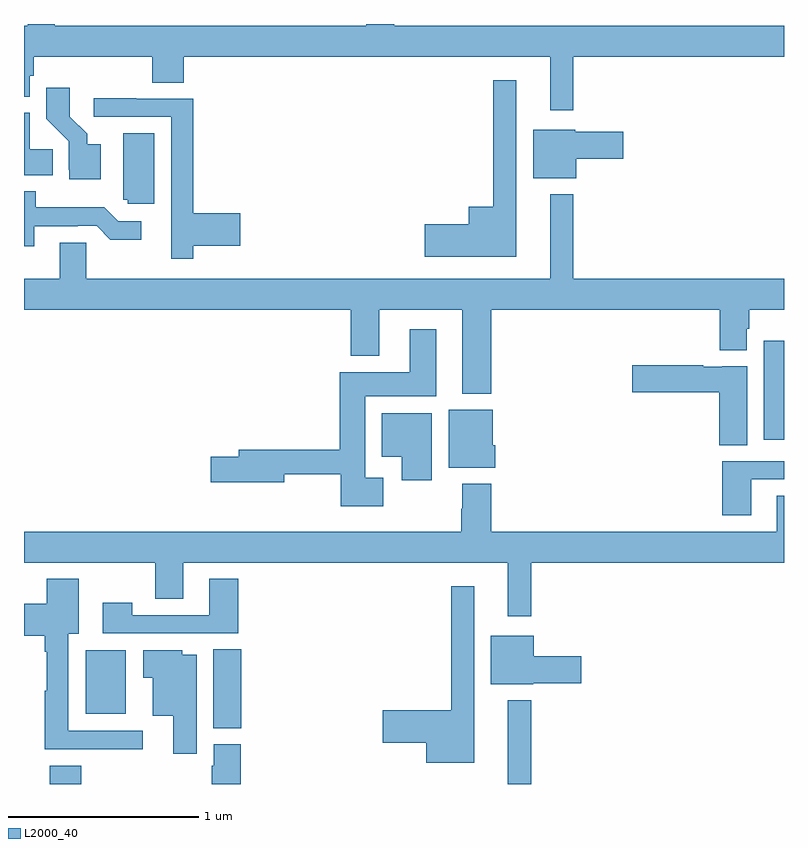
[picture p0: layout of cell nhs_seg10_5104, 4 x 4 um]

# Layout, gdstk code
import gdstk
lib = gdstk.Library(unit=1e-6, precision=1e-09)
def R(c, l, rs):  # rectangles x0, y0, x1, y1
    for r in rs: c.add(gdstk.rectangle(r[:2], r[2:], *l))
def P(c, l, *ps):  # polygons
    for p in ps: c.add(gdstk.Polygon(p, *l))
L2000_40 = (2000, 40)

nhs_seg10_5104 = lib.new_cell('nhs_seg10_5104')
R(nhs_seg10_5104, L2000_40, [(407.135,1284.5,407.3,1284.595), (409.547,1284.5,409.669,1284.94), (407.996,1284.793,408.143,1285.208), (407.324,1284.869,407.536,1285.204), (410.894,1286.312,411,1286.833)])
P(nhs_seg10_5104, L2000_40, [(407.021,1288.492),(407,1288.492),(407,1288.118),(407.031,1288.118),(407.031,1288.227),(407.051,1288.227),(407.051,1288.328),(407.675,1288.328),(407.675,1288.192),(407.84,1288.192),(407.84,1288.328),(409.769,1288.328),(409.769,1288.047),(409.891,1288.047),(409.891,1288.328),(411,1288.328),(411,1288.492),(408.949,1288.492),(408.949,1288.5),(408.802,1288.5),(408.802,1288.492),(407.161,1288.492),(407.161,1288.5),(407.021,1288.5)],
  [(409.591,1288.204),(409.47,1288.204),(409.47,1287.538),(409.34,1287.538),(409.34,1287.446),(409.11,1287.446),(409.11,1287.275),(409.591,1287.275)],
  [(407.404,1287.868),(407.332,1287.868),(407.332,1287.923),(407.242,1288.013),(407.242,1288.165),(407.116,1288.165),(407.116,1288.002),(407.235,1287.883),(407.235,1287.732),(407.237,1287.732),(407.237,1287.683),(407.404,1287.683)],
  [(407.891,1287.332),(408.139,1287.332),(408.139,1287.503),(407.891,1287.503),(407.891,1288.107),(407.591,1288.107),(407.591,1288.11),(407.367,1288.11),(407.367,1288.011),(407.775,1288.011),(407.775,1287.486),(407.774,1287.486),(407.774,1287.264),(407.891,1287.264)],
  [(407.15,1287.842),(407.029,1287.842),(407.029,1288.033),(407,1288.033),(407,1287.704),(407.15,1287.704)],
  [(409.906,1287.791),(410.155,1287.791),(410.155,1287.933),(409.902,1287.933),(409.902,1287.943),(409.679,1287.943),(409.679,1287.689),(409.906,1287.689)],
  [(407.686,1287.925),(407.522,1287.925),(407.522,1287.576),(407.547,1287.576),(407.547,1287.555),(407.686,1287.555)],
  [(407.053,1287.435),(407.282,1287.435),(407.282,1287.438),(407.382,1287.438),(407.455,1287.365),(407.617,1287.365),(407.617,1287.462),(407.496,1287.462),(407.423,1287.535),(407.061,1287.535),(407.061,1287.619),(407,1287.619),(407,1287.33),(407.053,1287.33)],
  [(409.46,1286.996),(410.663,1286.996),(410.663,1286.783),(410.803,1286.783),(410.803,1286.895),(410.816,1286.895),(410.816,1286.996),(411,1286.996),(411,1287.16),(409.891,1287.16),(409.891,1287.604),(409.769,1287.604),(409.769,1287.16),(407.328,1287.16),(407.328,1287.35),(407.189,1287.35),(407.189,1287.16),(407,1287.16),(407,1286.996),(408.719,1286.996),(408.719,1286.753),(408.871,1286.753),(408.871,1286.996),(409.307,1286.996),(409.307,1286.555),(409.46,1286.555)],
  [(408.892,1286.113),(408.796,1286.113),(408.796,1286.54),(409.171,1286.54),(409.171,1286.893),(409.031,1286.893),(409.031,1286.668),(408.662,1286.668),(408.662,1286.258),(408.131,1286.258),(408.131,1286.222),(407.982,1286.222),(407.982,1286.087),(408.37,1286.087),(408.37,1286.13),(408.667,1286.13),(408.667,1285.961),(408.892,1285.961)],
  [(410.806,1286.698),(410.676,1286.698),(410.676,1286.695),(410.576,1286.695),(410.576,1286.703),(410.202,1286.703),(410.202,1286.561),(410.66,1286.561),(410.66,1286.284),(410.806,1286.284)],
  [(409.48,1286.283),(409.468,1286.283),(409.468,1286.47),(409.235,1286.47),(409.235,1286.165),(409.48,1286.165)],
  [(409.147,1286.452),(408.884,1286.452),(408.884,1286.222),(408.989,1286.222),(408.989,1286.1),(409.147,1286.1)],
  [(410.827,1286.103),(411,1286.103),(411,1286.199),(410.675,1286.199),(410.675,1285.914),(410.827,1285.914)],
  [(409.669,1285.664),(411,1285.664),(411,1286.018),(410.963,1286.018),(410.963,1285.828),(409.46,1285.828),(409.46,1286.08),(409.307,1286.08),(409.307,1285.949),(409.3,1285.949),(409.3,1285.828),(407,1285.828),(407,1285.664),(407.692,1285.664),(407.692,1285.474),(407.839,1285.474),(407.839,1285.664),(409.547,1285.664),(409.547,1285.383),(409.669,1285.383)],
  [(407.626,1284.78),(407.233,1284.78),(407.233,1285.292),(407.287,1285.292),(407.287,1285.579),(407.12,1285.579),(407.12,1285.45),(407,1285.45),(407,1285.28),(407.108,1285.28),(407.108,1285.196),(407.12,1285.196),(407.12,1284.992),(407.108,1284.992),(407.108,1284.683),(407.626,1284.683)],
  [(408.128,1285.579),(407.975,1285.579),(407.975,1285.389),(407.571,1285.389),(407.571,1285.453),(407.415,1285.453),(407.415,1285.293),(408.128,1285.293)],
  [(409.369,1285.54),(409.248,1285.54),(409.248,1284.887),(408.888,1284.887),(408.888,1284.716),(409.118,1284.716),(409.118,1284.611),(409.369,1284.611)],
  [(409.68,1285.031),(409.933,1285.031),(409.933,1285.173),(409.684,1285.173),(409.684,1285.279),(409.457,1285.279),(409.457,1285.025),(409.68,1285.025)],
  [(407.908,1285.18),(407.832,1285.18),(407.832,1285.204),(407.627,1285.204),(407.627,1285.058),(407.678,1285.058),(407.678,1284.86),(407.786,1284.86),(407.786,1284.66),(407.908,1284.66)],
  [(408.14,1284.708),(407.999,1284.708),(407.999,1284.597),(407.987,1284.597),(407.987,1284.5),(408.14,1284.5)])

lib.write_gds('nhs_seg10_5104.gds')
